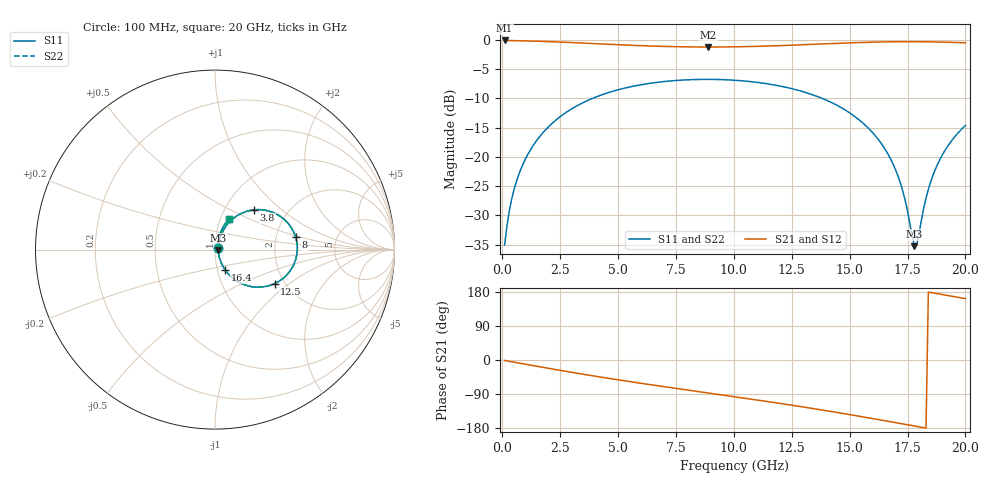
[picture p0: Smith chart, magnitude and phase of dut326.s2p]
! Touchstone file exported from HFSS 2026.1.0
!  File:  C:/ffzhzh/LocalFiles/Ansys_Project_Files/temp_train_TSV_RDL_326_1783032192_51716.aedt
!  Generated:  06:57:05 AM Jul  3, 2026
!  Design:  TSV_RDL
!  Project:  temp_train_TSV_RDL_326_1783032192_51716
! Variables:
!  h_bsmrdl = 2.72um
!  h_ox = 20um
!  h_rdl = 5um
!  h_sub = 80.52um
!  h_tmrdl = 3.29um
!  h_tsv = 80.52um
!  h_via = 3um
!  l_bsmrdl = 431.6um
!  l_sub = 3232.46um
!  l_tmrdl = 346.84um
!  m_sub = 200um
!  pitch = 49.05um
!  r_tsv = 9.45um
!  s_tmrdl = 10um
!  w_bsmrdl = 26.21um
!  w_sub = 500um
!  w_tmrdl = 23.89um
!  x_tsv_center1 = 358.785um
!  x_tsv_center2 = 816.595um
!  x_tsv_center3 = 1187.325um
!  x_tsv_center4 = 1645.135um
!  x_tsv_center5 = 2015.865um
!  x_tsv_center6 = 2473.675um
# GHz S MA R 50.000000
! Terminal data exported
! Port[1] = TM_RDL1_1_T1
! Port[2] = TM_RDL5_1_T1
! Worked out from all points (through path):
!   200 points, 100 MHz to 20 GHz, reference 50 ohm
!   highest |S21| = -0.13 dB at 100 MHz (marker M1); lowest = -1.2 dB at 8.9 GHz (marker M2)
!   group delay of S21, straight-line fit = 26.6 ps
!   lowest |S11| = -35.3 dB at 17.8 GHz (marker M3), VSWR 1.04, Z = 51.7 - j0.224 ohm
!   |S11| at or under -10 dB: start of sweep to 3.905 GHz; 13.8 GHz to end of sweep
!   |S22| runs from -35.3 to -6.8 dB; largest |S21 - S12| = 3.5e-14
!   S11 on the Smith chart (normalised r, x): 100 MHz: 1.03, +0.02; 3.8 GHz: 1.36, +0.67; 8 GHz: 2.58, +0.45; 12.5 GHz: 1.77, -0.79; 16.4 GHz: 1.09, -0.25; 20 GHz: 1.10, +0.38
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0.1  0.01768 35.2  0.9857 -1.2  0.9857 -1.2  0.01768 35.2
! Gamma 0 0 0 0
! Port Impedance 50 0 50 0
0.3  0.03424 59.4  0.9839 -3.5  0.9839 -3.5  0.03424 59.4
0.5  0.05202 65.3  0.9818 -5.7  0.9818 -5.7  0.05202 65.3
1.1  0.1047 67.4  0.9758 -12.3  0.9758 -12.3  0.1047 67.4
2.1  0.189 60.9  0.9623 -23.1  0.9623 -23.1  0.189 60.9
3.5  0.2911 48.4  0.9361 -37.7  0.9361 -37.7  0.2911 48.4
3.8  0.3099 45.6  0.93 -40.7  0.93 -40.7  0.3099 45.6
6.8  0.4352 18.8  0.8787 -68.7  0.8787 -68.7  0.4352 18.9
8  0.4548 8.7  0.8687 -79.3  0.8687 -79.3  0.4548 8.7
8.9  0.4587 1.1  0.8664 -87.1  0.8664 -87.1  0.4587 1.1
10.1  0.4499 -8.9  0.8702 -97.5  0.8702 -97.5  0.4499 -8.9
12.5  0.3824 -29.7  0.8983 -119.2  0.8983 -119.2  0.3824 -29.7
13.4  0.339 -37.8  0.9134 -127.9  0.9134 -127.9  0.339 -37.8
15.2  0.2229 -54.1  0.9434 -146.1  0.9434 -146.1  0.2229 -54.1
16.4  0.1273 -63.3  0.9574 -158.9  0.9574 -158.9  0.1273 -63.3
16.7  0.1019 -64.6  0.9596 -162.2  0.9596 -162.2  0.1019 -64.6
17.3  0.05078 -61.1  0.962 -168.7  0.962 -168.7  0.05079 -61.1
17.8  0.01727 -7.2  0.962 -174.2  0.962 -174.2  0.01726 -7.3
17.9  0.01782 21.1  0.9618 -175.3  0.9618 -175.3  0.0178 21.1
18.3  0.04445 66.3  0.9602 -179.7  0.9602 -179.7  0.04443 66.3
18.7  0.07811 71.9  0.9574 176.0  0.9574 176.0  0.0781 71.9
20  0.1852 65.6  0.9413 162.0  0.9413 162.0  0.1852 65.6
